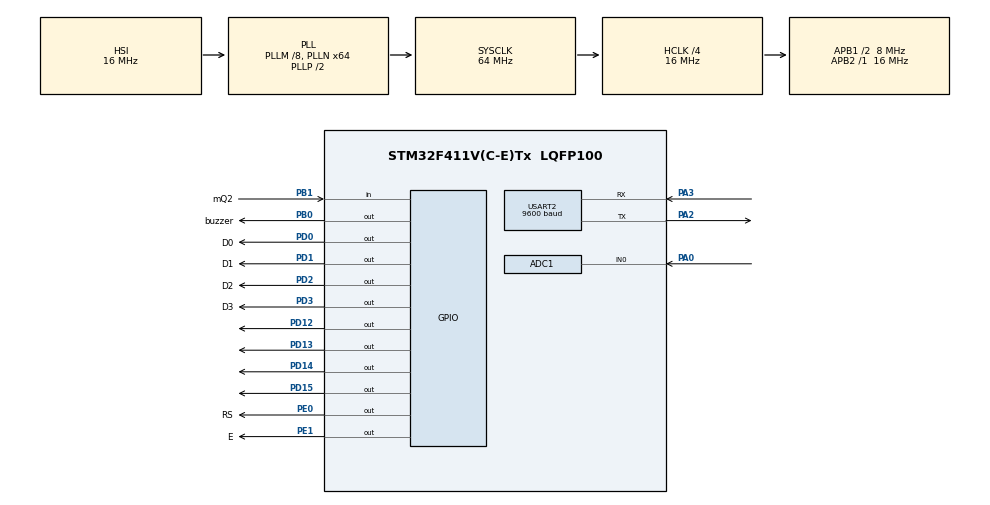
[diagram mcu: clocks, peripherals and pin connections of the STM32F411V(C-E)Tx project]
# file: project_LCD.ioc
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ADC1.Channel-0\#ChannelRegularConversion=ADC_CHANNEL_0
ADC1.InjNumberOfConversion=0
ADC1.NbrOfConversionFlag=1
ADC1.Rank-0\#ChannelRegularConversion=1
ADC1.Resolution=ADC_RESOLUTION_8B
ADC1.SamplingTime-0\#ChannelRegularConversion=ADC_SAMPLETIME_3CYCLES
ADC1.master=1
Mcu.Family=STM32F4
Mcu.Name=STM32F411V(C-E)Tx
Mcu.Package=LQFP100
NVIC.PriorityGroup=NVIC_PRIORITYGROUP_4
PA0-WKUP.Signal=ADCx_IN0
PA2.Mode=Asynchronous
PA2.Signal=USART2_TX
PA3.Mode=Asynchronous
PA3.Signal=USART2_RX
PB0.GPIO_Label=buzzer
PB0.Signal=GPIO_Output
PB1.GPIO_Label=mQ2
PB1.Signal=GPIO_Input
PD0.GPIO_Label=D0
PD0.Signal=GPIO_Output
PD1.GPIO_Label=D1
PD1.Signal=GPIO_Output
PD12.Signal=GPIO_Output
PD13.Signal=GPIO_Output
PD14.Signal=GPIO_Output
PD15.Signal=GPIO_Output
PD2.GPIO_Label=D2
PD2.Signal=GPIO_Output
PD3.GPIO_Label=D3
PD3.Signal=GPIO_Output
PE0.GPIO_Label=RS
PE0.Signal=GPIO_Output
PE1.GPIO_Label=E
PE1.Signal=GPIO_Output
ProjectManager.HeapSize=0x200
ProjectManager.StackSize=0x400
ProjectManager.TargetToolchain=MDK-ARM V5
RCC.48MHZClocksFreq_Value=32000000
RCC.AHBCLKDivider=RCC_SYSCLK_DIV4
RCC.AHBFreq_Value=16000000
RCC.APB1CLKDivider=RCC_HCLK_DIV2
RCC.APB1Freq_Value=8000000
RCC.APB1TimFreq_Value=16000000
RCC.APB2Freq_Value=16000000
RCC.APB2TimFreq_Value=16000000
RCC.CortexFreq_Value=16000000
RCC.HCLKFreq_Value=16000000
RCC.HSE_VALUE=16000000
RCC.HSI_VALUE=16000000
RCC.LSE_VALUE=32768
RCC.PLLM=8
RCC.PLLN=64
RCC.SYSCLKFreq_VALUE=64000000
RCC.SYSCLKSource=RCC_SYSCLKSOURCE_PLLCLK
RCC.VCOOutputFreq_Value=128000000
SH.ADCx_IN0.0=ADC1_IN0,IN0
USART2.BaudRate=9600
USART2.VirtualMode=VM_ASYNC
board=custom

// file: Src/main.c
/**
  ******************************************************************************
  * @file           : main.c
  * @brief          : Main program body
  ******************************************************************************
  ** This notice applies to any and all portions of this file
  * that are not between comment pairs USER CODE BEGIN and
  * USER CODE END. Other portions of this file, whether
  * inserted by the user or by software development tools
  * are owned by their respective copyright owners.
  *
  * COPYRIGHT(c) 2019 STMicroelectronics
  *
  * Redistribution and use in source and binary forms, with or without modification,
  * are permitted provided that the following conditions are met:
  *   1. Redistributions of source code must retain the above copyright notice,
  *      this list of conditions and the following disclaimer.
  *   2. Redistributions in binary form must reproduce the above copyright notice,
  *      this list of conditions and the following disclaimer in the documentation
  *      and/or other materials provided with the distribution.
  *   3. Neither the name of STMicroelectronics nor the names of its contributors
  *      may be used to endorse or promote products derived from this software
  *      without specific prior written permission.
  *
  * THIS SOFTWARE IS PROVIDED BY THE COPYRIGHT HOLDERS AND CONTRIBUTORS "AS IS"
  * AND ANY EXPRESS OR IMPLIED WARRANTIES, INCLUDING, BUT NOT LIMITED TO, THE
  * IMPLIED WARRANTIES OF MERCHANTABILITY AND FITNESS FOR A PARTICULAR PURPOSE ARE
  * DISCLAIMED. IN NO EVENT SHALL THE COPYRIGHT HOLDER OR CONTRIBUTORS BE LIABLE
  * FOR ANY DIRECT, INDIRECT, INCIDENTAL, SPECIAL, EXEMPLARY, OR CONSEQUENTIAL
  * DAMAGES (INCLUDING, BUT NOT LIMITED TO, PROCUREMENT OF SUBSTITUTE GOODS OR
  * SERVICES; LOSS OF USE, DATA, OR PROFITS; OR BUSINESS INTERRUPTION) HOWEVER
  * CAUSED AND ON ANY THEORY OF LIABILITY, WHETHER IN CONTRACT, STRICT LIABILITY,
  * OR TORT (INCLUDING NEGLIGENCE OR OTHERWISE) ARISING IN ANY WAY OUT OF THE USE
  * OF THIS SOFTWARE, EVEN IF ADVISED OF THE POSSIBILITY OF SUCH DAMAGE.
  *
  ******************************************************************************
  */
#include "main.h"
#include "stm32f4xx_hal.h"

/* USER CODE BEGIN Includes */
#include "STM_MY_LCD16X2.h"

/* USER CODE END Includes */

ADC_HandleTypeDef hadc1;

UART_HandleTypeDef huart2;

/* USER CODE BEGIN PV */
/* Private variables ---------------------------------------------------------*/

/* USER CODE END PV */

void SystemClock_Config(void);
static void MX_GPIO_Init(void);
static void MX_ADC1_Init(void);
static void MX_USART2_UART_Init(void);

/* USER CODE BEGIN PFP */
/* Private function prototypes -----------------------------------------------*/

/* USER CODE END PFP */

/* USER CODE BEGIN 0 */
uint32_t adcvaleur ,tempC , x;
char Tx_B [50]="alerte incendie";
char RX_B [50];

/* USER CODE END 0 */

int main(void)
{

  /* MCU Configuration----------------------------------------------------------*/

  /* Reset of all peripherals, Initializes the Flash interface and the Systick. */
  HAL_Init();

  /* Configure the system clock */
  SystemClock_Config();

  /* Initialize all configured peripherals */
  MX_GPIO_Init();
  MX_ADC1_Init();
  MX_USART2_UART_Init();
  /* USER CODE BEGIN 2 */
LCD1602_Begin4BIT (GPIOE , RS_Pin , E_Pin , GPIOD , D0_Pin ,D1_Pin ,D2_Pin ,D3_Pin);

  /* USER CODE END 2 */

  /* Infinite loop */
  while (1)
  {

  /* USER CODE BEGIN 3 */
HAL_ADC_Start(&hadc1);
if (HAL_ADC_PollForConversion(&hadc1, 5)== HAL_OK)
{
		adcvaleur= HAL_ADC_GetValue(&hadc1);
}
HAL_ADC_Stop(&hadc1);
HAL_Delay(50);
tempC=adcvaleur/9.86;
LCD1602_print("TEMPRATURE: ");
LCD1602_2ndLine();
LCD1602_setCursor(2,10);
LCD1602_noCursor();
LCD1602_PrintInt(tempC);
LCD1602_setCursor(2,12);
LCD1602_noCursor();
LCD1602_print("°C ");
LCD1602_setCursor(2,14);
LCD1602_noCursor();
LCD1602_print("    ");

HAL_Delay(300);

x = HAL_GPIO_ReadPin(GPIOB, GPIO_PIN_1);

if (x == 0)
{

HAL_GPIO_WritePin( GPIOB, GPIO_PIN_0, GPIO_PIN_SET);

HAL_UART_Transmit(&huart2 , (uint8_t*) Tx_B, 50,500);
HAL_Delay(1000);

HAL_GPIO_WritePin( GPIOB, GPIO_PIN_0, GPIO_PIN_SET);
HAL_GPIO_WritePin( GPIOD, GPIO_PIN_12, GPIO_PIN_SET);
HAL_GPIO_WritePin( GPIOD, GPIO_PIN_13, GPIO_PIN_RESET);
HAL_GPIO_WritePin( GPIOD, GPIO_PIN_14, GPIO_PIN_RESET);
HAL_GPIO_WritePin( GPIOD, GPIO_PIN_15, GPIO_PIN_RESET);
HAL_Delay(100);
HAL_GPIO_WritePin( GPIOD, GPIO_PIN_12, GPIO_PIN_SET);
HAL_GPIO_WritePin( GPIOD, GPIO_PIN_13, GPIO_PIN_SET);
HAL_GPIO_WritePin( GPIOD, GPIO_PIN_14, GPIO_PIN_RESET);
HAL_GPIO_WritePin( GPIOD, GPIO_PIN_15, GPIO_PIN_RESET);
HAL_Delay(100);
HAL_GPIO_WritePin( GPIOD, GPIO_PIN_12, GPIO_PIN_RESET);
HAL_GPIO_WritePin( GPIOD, GPIO_PIN_13, GPIO_PIN_SET);
HAL_GPIO_WritePin( GPIOD, GPIO_PIN_14, GPIO_PIN_RESET);
HAL_GPIO_WritePin( GPIOD, GPIO_PIN_15, GPIO_PIN_RESET);
HAL_Delay(100);
HAL_GPIO_WritePin( GPIOD, GPIO_PIN_12, GPIO_PIN_RESET);
HAL_GPIO_WritePin( GPIOD, GPIO_PIN_13, GPIO_PIN_SET);
HAL_GPIO_WritePin( GPIOD, GPIO_PIN_14, GPIO_PIN_SET);
HAL_GPIO_WritePin( GPIOD, GPIO_PIN_15, GPIO_PIN_RESET);
HAL_Delay(100);
HAL_GPIO_WritePin( GPIOD, GPIO_PIN_12, GPIO_PIN_RESET);
HAL_GPIO_WritePin( GPIOD, GPIO_PIN_13, GPIO_PIN_RESET);
HAL_GPIO_WritePin( GPIOD, GPIO_PIN_14, GPIO_PIN_SET);
HAL_GPIO_WritePin( GPIOD, GPIO_PIN_15, GPIO_PIN_RESET);
HAL_Delay(100);
HAL_GPIO_WritePin( GPIOD, GPIO_PIN_12, GPIO_PIN_RESET);
HAL_GPIO_WritePin( GPIOD, GPIO_PIN_13, GPIO_PIN_RESET);
HAL_GPIO_WritePin( GPIOD, GPIO_PIN_14, GPIO_PIN_SET);
HAL_GPIO_WritePin( GPIOD, GPIO_PIN_15, GPIO_PIN_SET);
HAL_Delay(100);
HAL_GPIO_WritePin( GPIOD, GPIO_PIN_12, GPIO_PIN_RESET);
HAL_GPIO_WritePin( GPIOD, GPIO_PIN_13, GPIO_PIN_RESET);
HAL_GPIO_WritePin( GPIOD, GPIO_PIN_14, GPIO_PIN_RESET);
HAL_GPIO_WritePin( GPIOD, GPIO_PIN_15, GPIO_PIN_SET);
HAL_Delay(100);
HAL_GPIO_WritePin( GPIOD, GPIO_PIN_12, GPIO_PIN_SET);
HAL_GPIO_WritePin( GPIOD, GPIO_PIN_13, GPIO_PIN_RESET);
HAL_GPIO_WritePin( GPIOD, GPIO_PIN_14, GPIO_PIN_RESET);
HAL_GPIO_WritePin( GPIOD, GPIO_PIN_15, GPIO_PIN_SET);
HAL_Delay(100);
HAL_GPIO_WritePin( GPIOD, GPIO_PIN_12, GPIO_PIN_RESET);
HAL_GPIO_WritePin( GPIOD, GPIO_PIN_13, GPIO_PIN_RESET);
HAL_GPIO_WritePin( GPIOD, GPIO_PIN_14, GPIO_PIN_RESET);
HAL_GPIO_WritePin( GPIOD, GPIO_PIN_15, GPIO_PIN_RESET);
HAL_Delay(100);
}

HAL_GPIO_WritePin( GPIOB, GPIO_PIN_0, GPIO_PIN_RESET);

  }
  /* USER CODE END 3 */

}

void SystemClock_Config(void)
{

  RCC_OscInitTypeDef RCC_OscInitStruct;
  RCC_ClkInitTypeDef RCC_ClkInitStruct;

    /**Configure the main internal regulator output voltage
    */
  __HAL_RCC_PWR_CLK_ENABLE();

  __HAL_PWR_VOLTAGESCALING_CONFIG(PWR_REGULATOR_VOLTAGE_SCALE1);

    /**Initializes the CPU, AHB and APB busses clocks
    */
  RCC_OscInitStruct.OscillatorType = RCC_OSCILLATORTYPE_HSI;
  RCC_OscInitStruct.HSIState = RCC_HSI_ON;
  RCC_OscInitStruct.HSICalibrationValue = 16;
  RCC_OscInitStruct.PLL.PLLState = RCC_PLL_ON;
  RCC_OscInitStruct.PLL.PLLSource = RCC_PLLSOURCE_HSI;
  RCC_OscInitStruct.PLL.PLLM = 8;
  RCC_OscInitStruct.PLL.PLLN = 64;
  RCC_OscInitStruct.PLL.PLLP = RCC_PLLP_DIV2;
  RCC_OscInitStruct.PLL.PLLQ = 4;
  if (HAL_RCC_OscConfig(&RCC_OscInitStruct) != HAL_OK)
  {
    _Error_Handler(__FILE__, __LINE__);
  }

    /**Initializes the CPU, AHB and APB busses clocks
    */
  RCC_ClkInitStruct.ClockType = RCC_CLOCKTYPE_HCLK|RCC_CLOCKTYPE_SYSCLK
                              |RCC_CLOCKTYPE_PCLK1|RCC_CLOCKTYPE_PCLK2;
  RCC_ClkInitStruct.SYSCLKSource = RCC_SYSCLKSOURCE_PLLCLK;
  RCC_ClkInitStruct.AHBCLKDivider = RCC_SYSCLK_DIV4;
  RCC_ClkInitStruct.APB1CLKDivider = RCC_HCLK_DIV2;
  RCC_ClkInitStruct.APB2CLKDivider = RCC_HCLK_DIV1;

  if (HAL_RCC_ClockConfig(&RCC_ClkInitStruct, FLASH_LATENCY_0) != HAL_OK)
  {
    _Error_Handler(__FILE__, __LINE__);
  }

    /**Configure the Systick interrupt time
    */
  HAL_SYSTICK_Config(HAL_RCC_GetHCLKFreq()/1000);

    /**Configure the Systick
    */
  HAL_SYSTICK_CLKSourceConfig(SYSTICK_CLKSOURCE_HCLK);

  /* SysTick_IRQn interrupt configuration */
  HAL_NVIC_SetPriority(SysTick_IRQn, 0, 0);
}

/* ADC1 init function */
static void MX_ADC1_Init(void)
{

  ADC_ChannelConfTypeDef sConfig;

    /**Configure the global features of the ADC (Clock, Resolution, Data Alignment and number of conversion)
    */
  hadc1.Instance = ADC1;
  hadc1.Init.ClockPrescaler = ADC_CLOCK_SYNC_PCLK_DIV2;
  hadc1.Init.Resolution = ADC_RESOLUTION_8B;
  hadc1.Init.ScanConvMode = DISABLE;
  hadc1.Init.ContinuousConvMode = DISABLE;
  hadc1.Init.DiscontinuousConvMode = DISABLE;
  hadc1.Init.ExternalTrigConvEdge = ADC_EXTERNALTRIGCONVEDGE_NONE;
  hadc1.Init.ExternalTrigConv = ADC_SOFTWARE_START;
  hadc1.Init.DataAlign = ADC_DATAALIGN_RIGHT;
  hadc1.Init.NbrOfConversion = 1;
  hadc1.Init.DMAContinuousRequests = DISABLE;
  hadc1.Init.EOCSelection = ADC_EOC_SINGLE_CONV;
  if (HAL_ADC_Init(&hadc1) != HAL_OK)
  {
    _Error_Handler(__FILE__, __LINE__);
  }

    /**Configure for the selected ADC regular channel its corresponding rank in the sequencer and its sample time.
    */
  sConfig.Channel = ADC_CHANNEL_0;
  sConfig.Rank = 1;
  sConfig.SamplingTime = ADC_SAMPLETIME_3CYCLES;
  if (HAL_ADC_ConfigChannel(&hadc1, &sConfig) != HAL_OK)
  {
    _Error_Handler(__FILE__, __LINE__);
  }

}

/* USART2 init function */
static void MX_USART2_UART_Init(void)
{

  huart2.Instance = USART2;
  huart2.Init.BaudRate = 9600;
  huart2.Init.WordLength = UART_WORDLENGTH_8B;
  huart2.Init.StopBits = UART_STOPBITS_1;
  huart2.Init.Parity = UART_PARITY_NONE;
  huart2.Init.Mode = UART_MODE_TX_RX;
  huart2.Init.HwFlowCtl = UART_HWCONTROL_NONE;
  huart2.Init.OverSampling = UART_OVERSAMPLING_16;
  if (HAL_UART_Init(&huart2) != HAL_OK)
  {
    _Error_Handler(__FILE__, __LINE__);
  }

}

/** Configure pins as
        * Analog
        * Input
        * Output
        * EVENT_OUT
        * EXTI
*/
static void MX_GPIO_Init(void)
{

  GPIO_InitTypeDef GPIO_InitStruct;

  /* GPIO Ports Clock Enable */
  __HAL_RCC_GPIOA_CLK_ENABLE();
  __HAL_RCC_GPIOB_CLK_ENABLE();
  __HAL_RCC_GPIOD_CLK_ENABLE();
  __HAL_RCC_GPIOE_CLK_ENABLE();

  /*Configure GPIO pin Output Level */
  HAL_GPIO_WritePin(buzzer_GPIO_Port, buzzer_Pin, GPIO_PIN_RESET);

  /*Configure GPIO pin Output Level */
  HAL_GPIO_WritePin(GPIOD, GPIO_PIN_12|GPIO_PIN_13|GPIO_PIN_14|GPIO_PIN_15
                          |D0_Pin|D1_Pin|D2_Pin|D3_Pin, GPIO_PIN_RESET);

  /*Configure GPIO pin Output Level */
  HAL_GPIO_WritePin(GPIOE, RS_Pin|E_Pin, GPIO_PIN_RESET);

  /*Configure GPIO pin : buzzer_Pin */
  GPIO_InitStruct.Pin = buzzer_Pin;
  GPIO_InitStruct.Mode = GPIO_MODE_OUTPUT_PP;
  GPIO_InitStruct.Pull = GPIO_NOPULL;
  GPIO_InitStruct.Speed = GPIO_SPEED_FREQ_LOW;
  HAL_GPIO_Init(buzzer_GPIO_Port, &GPIO_InitStruct);

  /*Configure GPIO pin : mQ2_Pin */
  GPIO_InitStruct.Pin = mQ2_Pin;
  GPIO_InitStruct.Mode = GPIO_MODE_INPUT;
  GPIO_InitStruct.Pull = GPIO_NOPULL;
  HAL_GPIO_Init(mQ2_GPIO_Port, &GPIO_InitStruct);

  /*Configure GPIO pins : PD12 PD13 PD14 PD15
                           D0_Pin D1_Pin D2_Pin D3_Pin */
  GPIO_InitStruct.Pin = GPIO_PIN_12|GPIO_PIN_13|GPIO_PIN_14|GPIO_PIN_15
                          |D0_Pin|D1_Pin|D2_Pin|D3_Pin;
  GPIO_InitStruct.Mode = GPIO_MODE_OUTPUT_PP;
  GPIO_InitStruct.Pull = GPIO_NOPULL;
  GPIO_InitStruct.Speed = GPIO_SPEED_FREQ_LOW;
  HAL_GPIO_Init(GPIOD, &GPIO_InitStruct);

  /*Configure GPIO pins : RS_Pin E_Pin */
  GPIO_InitStruct.Pin = RS_Pin|E_Pin;
  GPIO_InitStruct.Mode = GPIO_MODE_OUTPUT_PP;
  GPIO_InitStruct.Pull = GPIO_NOPULL;
  GPIO_InitStruct.Speed = GPIO_SPEED_FREQ_LOW;
  HAL_GPIO_Init(GPIOE, &GPIO_InitStruct);

}

void _Error_Handler(char *file, int line)
{
  while(1)
  {
  }
}

/************************ (C) COPYRIGHT STMicroelectronics *****END OF FILE****/
